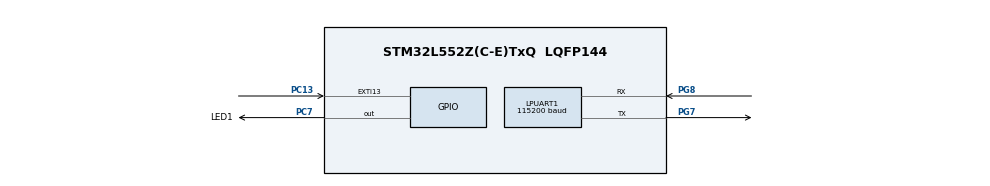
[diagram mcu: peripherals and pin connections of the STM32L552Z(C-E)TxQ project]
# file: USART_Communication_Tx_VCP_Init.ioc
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LPUART1.BaudRate=115200
LPUART1.DMADisableonRxErrorParam-Asynchronous=UART_ADVFEATURE_DMA_ENABLEONRXERROR
LPUART1.DataInvertParam-Asynchronous=UART_ADVFEATURE_DATAINV_DISABLE
LPUART1.MSBFirstParam-Asynchronous=UART_ADVFEATURE_MSBFIRST_DISABLE
LPUART1.Mode-Asynchronous=UART_MODE_TX_RX
LPUART1.OneBitSampling=UART_ONE_BIT_SAMPLE_DISABLE
LPUART1.OverrunDisableParam-Asynchronous=UART_ADVFEATURE_OVERRUN_ENABLE
LPUART1.Parity-Asynchronous=UART_PARITY_NONE
LPUART1.RXFIFOThreshold-Asynchronous=UART_RXFIFO_THRESHOLD_1_8
LPUART1.RxPinLevelInvertParam-Asynchronous=UART_ADVFEATURE_RXINV_DISABLE
LPUART1.StopBits-Asynchronous=UART_STOPBITS_1
LPUART1.SwapParam-Asynchronous=UART_ADVFEATURE_SWAP_DISABLE
LPUART1.TXFIFOThreshold-Asynchronous=UART_TXFIFO_THRESHOLD_1_8
LPUART1.TxPinLevelInvertParam-Asynchronous=UART_ADVFEATURE_TXINV_DISABLE
LPUART1.WordLength=UART_WORDLENGTH_8B
Mcu.Family=STM32L5
Mcu.Name=STM32L552Z(C-E)TxQ
Mcu.Package=LQFP144
Mcu.TrustZone=disable
NVIC.EXTI13_IRQn=true\:3\:0\:true\:false\:true\:true\:true\:true
NVIC.LPUART1_IRQn=true\:0\:0\:false\:false\:true\:true\:true\:true
NVIC.PriorityGroup=NVIC_PRIORITYGROUP_3
PC13.Signal=GPXTI13
PC7.GPIO_Label=LED1
PC7.GPIO_PuPd=GPIO_NOPULL
PC7.Signal=GPIO_Output
PG7.GPIO_PuPd=GPIO_PULLUP
PG7.GPIO_Speed=GPIO_SPEED_FREQ_HIGH
PG7.Mode=Asynchronous
PG7.Signal=LPUART1_TX
PG8.GPIO_PuPd=GPIO_PULLUP
PG8.GPIO_Speed=GPIO_SPEED_FREQ_HIGH
PG8.Mode=Asynchronous
PG8.Signal=LPUART1_RX
ProjectManager.HeapSize=0x200
ProjectManager.StackSize=0x400
ProjectManager.TargetToolchain=EWARM V8.32
RCC.ADCCLockSelection=RCC_ADCCLKSOURCE_SYSCLK
RCC.ADCFreq_Value=110000000
RCC.AHBFreq_Value=110000000
RCC.APB1Freq_Value=110000000
RCC.APB1TimFreq_Value=110000000
RCC.APB2Freq_Value=110000000
RCC.APB2TimFreq_Value=110000000
RCC.CortexFreq_Value=110000000
RCC.HCLKFreq_Value=110000000
RCC.HSE_VALUE=16000000
RCC.HSI48_VALUE=48000000
RCC.HSI_VALUE=16000000
RCC.LSE_VALUE=32768
RCC.MSI_VALUE=4000000
RCC.PLLN=55
RCC.PLLSAI1N=24
RCC.RTCClockSelection=RCC_RTCCLKSOURCE_LSE
RCC.SYSCLKFreq_VALUE=110000000
RCC.SYSCLKSource=RCC_SYSCLKSOURCE_PLLCLK
RCC.USBFreq_Value=48000000
RCC.VCOOutputFreq_Value=220000000
VP_ICACHE_VS_ICACHE.Mode=DirectMappedCache
VP_PWR_VS_DBSignals.Mode=DisableDeadBatterySignals
board=custom

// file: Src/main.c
/* USER CODE BEGIN Header */
/**
  ******************************************************************************
  * @file    Examples_LL/USART/USART_Communication_Tx_VCP_Init/Src/main.c
  * @author  MCD Application Team
  * @brief   This example describes how to send bytes over LPUART IP using
  *          the STM32L5xx USART LL API.
  *          Peripheral initialization done using LL unitary services functions.
  ******************************************************************************
  * @attention
  *
  * Copyright (c) 2019 STMicroelectronics.
  * All rights reserved.
  *
  * This software is licensed under terms that can be found in the LICENSE file
  * in the root directory of this software component.
  * If no LICENSE file comes with this software, it is provided AS-IS.
  *
  ******************************************************************************
  */
/* USER CODE END Header */
#include "main.h"

/* USER CODE BEGIN PD */

#if (USE_TIMEOUT == 1)
#define USART_SEND_TIMEOUT_TXE_MS 10
#define USART_SEND_TIMEOUT_TC_MS  20
#endif /* USE_TIMEOUT */

/* USER CODE END PD */

/* USER CODE BEGIN PV */

#if (USE_TIMEOUT == 1)
uint32_t Timeout = 0; /* Variable used for Timeout management */
#endif /* USE_TIMEOUT */
__IO uint8_t ubButtonPress = 0;
uint8_t ubSend = 0;
const uint8_t aStringToSend[] = "STM32L5xx USART LL API Example : TX in Polling mode\r\nConfiguration UART 115200 bps, 8 data bit/1 stop bit/No parity/No HW flow control\r\n";

/* USER CODE END PV */

void SystemClock_Config(void);
static void MX_GPIO_Init(void);
static void MX_ICACHE_Init(void);
static void MX_LPUART1_UART_Init(void);
/* USER CODE BEGIN PFP */
void     LED_On(void);
void     LED_Off(void);
#if (USE_TIMEOUT == 1)
void     LED_Blinking(uint32_t Period);
#endif /* USE_TIMEOUT */
void     WaitForUserButtonPress(void);
void     BufferTransfer(void);
/* USER CODE END PFP */

int main(void)
{

  /* MCU Configuration--------------------------------------------------------*/

  /* Reset of all peripherals, Initializes the Flash interface and the Systick. */
  LL_APB2_GRP1_EnableClock(LL_APB2_GRP1_PERIPH_SYSCFG);
  LL_APB1_GRP1_EnableClock(LL_APB1_GRP1_PERIPH_PWR);

  /* System interrupt init*/
  NVIC_SetPriorityGrouping(NVIC_PRIORITYGROUP_3);

  /** Disable the internal Pull-Up in Dead Battery pins of UCPD peripheral
  */
  LL_PWR_DisableUCPDDeadBattery();

  /* Configure the system clock */
  SystemClock_Config();

  /* Initialize all configured peripherals */
  MX_GPIO_Init();
  MX_ICACHE_Init();
  MX_LPUART1_UART_Init();
  /* USER CODE BEGIN 2 */

  /* Polling LPUART initialisation */
  while ((!(LL_LPUART_IsActiveFlag_TEACK(LPUART1))) || (!(LL_LPUART_IsActiveFlag_REACK(LPUART1))))
  {
  }

  /* Set LED1 Off */
  LED_Off();

  /* USER CODE END 2 */

  /* Infinite loop */
  /* USER CODE BEGIN WHILE */
  while (1)
  {
    /* Wait for user push button press to start transfer */
    WaitForUserButtonPress();
    /* USER CODE END WHILE */

    /* USER CODE BEGIN 3 */

    /* transfer Tx buffer to PC application */
    BufferTransfer();
  }
  /* USER CODE END 3 */
}

void SystemClock_Config(void)
{
  LL_FLASH_SetLatency(LL_FLASH_LATENCY_5);
  while(LL_FLASH_GetLatency()!= LL_FLASH_LATENCY_5)
  {
  }

  LL_PWR_SetRegulVoltageScaling(LL_PWR_REGU_VOLTAGE_SCALE0);
  LL_RCC_MSI_Enable();

   /* Wait till MSI is ready */
  while(LL_RCC_MSI_IsReady() != 1)
  {
  }

  LL_RCC_MSI_EnableRangeSelection();
  LL_RCC_MSI_SetRange(LL_RCC_MSIRANGE_6);
  LL_RCC_MSI_SetCalibTrimming(0);
  LL_RCC_PLL_ConfigDomain_SYS(LL_RCC_PLLSOURCE_MSI, LL_RCC_PLLM_DIV_1, 55, LL_RCC_PLLR_DIV_2);
  LL_RCC_PLL_EnableDomain_SYS();
  LL_RCC_PLL_Enable();

   /* Wait till PLL is ready */
  while(LL_RCC_PLL_IsReady() != 1)
  {
  }

   /* Intermediate AHB prescaler 2 when target frequency clock is higher than 80 MHz */
   LL_RCC_SetAHBPrescaler(LL_RCC_SYSCLK_DIV_2);

  LL_RCC_SetSysClkSource(LL_RCC_SYS_CLKSOURCE_PLL);

   /* Wait till System clock is ready */
  while(LL_RCC_GetSysClkSource() != LL_RCC_SYS_CLKSOURCE_STATUS_PLL)
  {
  }

  /* Insure 1us transition state at intermediate medium speed clock*/
  for (__IO uint32_t i = (RCC_MAX_FREQUENCY_MHZ >> 1); i !=0; i--);

  LL_RCC_SetAHBPrescaler(LL_RCC_SYSCLK_DIV_1);
  LL_RCC_SetAPB1Prescaler(LL_RCC_APB1_DIV_1);
  LL_RCC_SetAPB2Prescaler(LL_RCC_APB2_DIV_1);

  LL_Init1msTick(110000000);

  LL_SetSystemCoreClock(110000000);
}

static void MX_ICACHE_Init(void)
{

  /** Enable instruction cache in 1-way (direct mapped cache)
  */
  LL_ICACHE_SetMode(LL_ICACHE_1WAY);
  LL_ICACHE_Enable();

}

static void MX_LPUART1_UART_Init(void)
{

  LL_LPUART_InitTypeDef LPUART_InitStruct = {0};

  LL_GPIO_InitTypeDef GPIO_InitStruct = {0};

  LL_RCC_SetLPUARTClockSource(LL_RCC_LPUART1_CLKSOURCE_PCLK1);

  /* Peripheral clock enable */
  LL_APB1_GRP2_EnableClock(LL_APB1_GRP2_PERIPH_LPUART1);

  LL_AHB2_GRP1_EnableClock(LL_AHB2_GRP1_PERIPH_GPIOG);
  LL_PWR_EnableVddIO2();
  /**LPUART1 GPIO Configuration
  PG7   ------> LPUART1_TX
  PG8   ------> LPUART1_RX
  */
  GPIO_InitStruct.Pin = LL_GPIO_PIN_7|LL_GPIO_PIN_8;
  GPIO_InitStruct.Mode = LL_GPIO_MODE_ALTERNATE;
  GPIO_InitStruct.Speed = LL_GPIO_SPEED_FREQ_HIGH;
  GPIO_InitStruct.OutputType = LL_GPIO_OUTPUT_PUSHPULL;
  GPIO_InitStruct.Pull = LL_GPIO_PULL_UP;
  GPIO_InitStruct.Alternate = LL_GPIO_AF_8;
  LL_GPIO_Init(GPIOG, &GPIO_InitStruct);

  /* LPUART1 interrupt Init */
  NVIC_SetPriority(LPUART1_IRQn, NVIC_EncodePriority(NVIC_GetPriorityGrouping(),0, 0));
  NVIC_EnableIRQ(LPUART1_IRQn);

  LPUART_InitStruct.PrescalerValue = LL_LPUART_PRESCALER_DIV1;
  LPUART_InitStruct.BaudRate = 115200;
  LPUART_InitStruct.DataWidth = LL_LPUART_DATAWIDTH_8B;
  LPUART_InitStruct.StopBits = LL_LPUART_STOPBITS_1;
  LPUART_InitStruct.Parity = LL_LPUART_PARITY_NONE;
  LPUART_InitStruct.TransferDirection = LL_LPUART_DIRECTION_TX_RX;
  LPUART_InitStruct.HardwareFlowControl = LL_LPUART_HWCONTROL_NONE;
  LL_LPUART_Init(LPUART1, &LPUART_InitStruct);
  LL_LPUART_SetTXFIFOThreshold(LPUART1, LL_LPUART_FIFOTHRESHOLD_1_8);
  LL_LPUART_SetRXFIFOThreshold(LPUART1, LL_LPUART_FIFOTHRESHOLD_1_8);
  LL_LPUART_DisableFIFO(LPUART1);
  LL_LPUART_Enable(LPUART1);

}

static void MX_GPIO_Init(void)
{
  LL_EXTI_InitTypeDef EXTI_InitStruct = {0};
  LL_GPIO_InitTypeDef GPIO_InitStruct = {0};

  /* GPIO Ports Clock Enable */
  LL_AHB2_GRP1_EnableClock(LL_AHB2_GRP1_PERIPH_GPIOC);
  LL_AHB2_GRP1_EnableClock(LL_AHB2_GRP1_PERIPH_GPIOG);
  LL_PWR_EnableVddIO2();

  /**/
  LL_GPIO_ResetOutputPin(LED1_GPIO_Port, LED1_Pin);

  /**/
  LL_EXTI_SetEXTISource(LL_EXTI_EXTI_PORTC, LL_EXTI_EXTI_LINE13);

  /**/
  EXTI_InitStruct.Line_0_31 = LL_EXTI_LINE_13;
  EXTI_InitStruct.Line_32_63 = LL_EXTI_LINE_NONE;
  EXTI_InitStruct.LineCommand = ENABLE;
  EXTI_InitStruct.Mode = LL_EXTI_MODE_IT;
  EXTI_InitStruct.Trigger = LL_EXTI_TRIGGER_RISING;
  LL_EXTI_Init(&EXTI_InitStruct);

  /**/
  LL_GPIO_SetPinPull(GPIOC, LL_GPIO_PIN_13, LL_GPIO_PULL_NO);

  /**/
  LL_GPIO_SetPinMode(GPIOC, LL_GPIO_PIN_13, LL_GPIO_MODE_INPUT);

  /**/
  GPIO_InitStruct.Pin = LED1_Pin;
  GPIO_InitStruct.Mode = LL_GPIO_MODE_OUTPUT;
  GPIO_InitStruct.Speed = LL_GPIO_SPEED_FREQ_LOW;
  GPIO_InitStruct.OutputType = LL_GPIO_OUTPUT_PUSHPULL;
  GPIO_InitStruct.Pull = LL_GPIO_PULL_NO;
  LL_GPIO_Init(LED1_GPIO_Port, &GPIO_InitStruct);

  /* EXTI interrupt init*/
  NVIC_SetPriority(EXTI13_IRQn, NVIC_EncodePriority(NVIC_GetPriorityGrouping(),3, 0));
  NVIC_EnableIRQ(EXTI13_IRQn);

}

/* USER CODE BEGIN 4 */

/**
  * @brief  Turn-on LED1.
  * @param  None
  * @retval None
  */
void LED_On(void)
{
  /* Turn LED1 on */
  LL_GPIO_SetOutputPin(LED1_GPIO_Port, LED1_Pin);
}

/**
  * @brief  Turn-off LED1.
  * @param  None
  * @retval None
  */
void LED_Off(void)
{
  /* Turn LED1 off */
  LL_GPIO_ResetOutputPin(LED1_GPIO_Port, LED1_Pin);
}

#if (USE_TIMEOUT == 1)
/**
  * @brief  Set LED1 to Blinking mode for an infinite loop (toggle period based on value provided as input parameter).
  * @param  Period : Period of time (in ms) between each toggling of LED
  *   This parameter can be user defined values. Pre-defined values used in that example are :
  *     @arg LED_BLINK_FAST : Fast Blinking
  *     @arg LED_BLINK_SLOW : Slow Blinking
  *     @arg LED_BLINK_ERROR : Error specific Blinking
  * @retval None
  */
void LED_Blinking(uint32_t Period)
{
  /* Toggle LED1 in an infinite loop */
  while (1)
  {
    LL_GPIO_TogglePin(LED1_GPIO_Port, LED1_Pin);
    LL_mDelay(Period);
  }
}
#endif /* USE_TIMEOUT */

/**
  * @brief  Wait for user push button press to start transfer.
  * @param  None
  * @retval None
  */
void WaitForUserButtonPress(void)
{
  while (ubButtonPress == 0)
  {
  }
  ubSend = 0;
}

/**
  * @brief  Function called for achieving TX buffer sending
  * @param  None
  * @retval None
  */
void BufferTransfer(void)
{

  /* Send characters one per one, until last char to be sent */
  while (ubSend < sizeof(aStringToSend))
  {
#if (USE_TIMEOUT == 1)
    Timeout = LPUART_SEND_TIMEOUT_TXE_MS;
#endif /* USE_TIMEOUT */

    /* Wait for TXE flag to be raised */
    while (!LL_LPUART_IsActiveFlag_TXE(LPUART1))
    {
#if (USE_TIMEOUT == 1)
      /* Check Systick counter flag to decrement the time-out value */
      if (LL_SYSTICK_IsActiveCounterFlag())
      {
        if (Timeout-- == 0)
        {
          /* Time-out occurred. Set LED to blinking mode */
          LED_Blinking(LED_BLINK_SLOW);
        }
      }
#endif /* USE_TIMEOUT */
    }

    /* If last char to be sent, clear TC flag */
    if (ubSend == (sizeof(aStringToSend) - 1))
    {
      LL_LPUART_ClearFlag_TC(LPUART1);
    }

    /* Write character in Transmit Data register.
       TXE flag is cleared by writing data in TDR register */
    LL_LPUART_TransmitData8(LPUART1, aStringToSend[ubSend++]);
  }

#if (USE_TIMEOUT == 1)
  Timeout = LPUART_SEND_TIMEOUT_TC_MS;
#endif /* USE_TIMEOUT */

  /* Wait for TC flag to be raised for last char */
  while (!LL_LPUART_IsActiveFlag_TC(LPUART1))
  {
#if (USE_TIMEOUT == 1)
    /* Check Systick counter flag to decrement the time-out value */
    if (LL_SYSTICK_IsActiveCounterFlag())
    {
      if (Timeout-- == 0)
      {
        /* Time-out occurred. Set LED to blinking mode */
        LED_Blinking(LED_BLINK_SLOW);
      }
    }
#endif /* USE_TIMEOUT */
  }

  ubButtonPress = 0;

  /* Turn LED1 On at end of transfer : Tx sequence completed successfully */
  LED_On();
}

/******************************************************************************/
/*   USER IRQ HANDLER TREATMENT Functions                                     */
/******************************************************************************/
/**
  * @brief  Function to manage User push-button
  * @param  None
  * @retval None
  */
void UserButton_Callback(void)
{
  /* Update button press variable : to be checked in waiting loop in main program */
  ubButtonPress = 1;
}

/* USER CODE END 4 */

void Error_Handler(void)
{
  while(1)
  {
  }
}

#ifdef  USE_FULL_ASSERT
/**
  * @brief  Reports the name of the source file and the source line number
  *         where the assert_param error has occurred.
  * @param  file: pointer to the source file name
  * @param  line: assert_param error line source number
  * @retval None
  */
void assert_failed(uint8_t *file, uint32_t line)
{
  /* USER CODE BEGIN 6 */
  /* User can add his own implementation to report the file name and line number,
     ex: printf("Wrong parameters value: file %s on line %d\r\n", file, line) */
  /* Infinite loop */
  while (1)
  {}
  /* USER CODE END 6 */
}
#endif /* USE_FULL_ASSERT */
